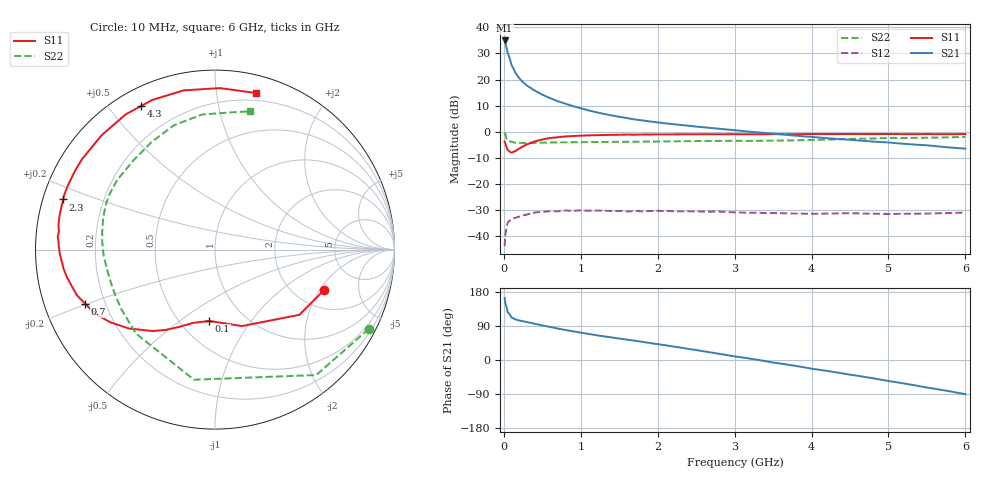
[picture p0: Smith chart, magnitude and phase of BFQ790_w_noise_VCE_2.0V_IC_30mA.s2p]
! Infineon Technologies  Discrete & RF Semiconductors
! BFQ790
! VCE =  2.0 V,  IC =  30 mA
! Common Emitter S-Parameters:  May 2015
# GHz  S  MA  R  50
!  f  S11  S21  S12  S22
! GHz  MAG  ANG  MAG  ANG  MAG  ANG  MAG  ANG
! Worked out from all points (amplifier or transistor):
!   77 points, 10 MHz to 6 GHz, reference 50 ohm
!   highest |S21| = 35.0 dB at 10 MHz (marker M1)
!   |S21| within 3 dB of that: start of sweep to 36.4 MHz
!   unconditionally stable (mu >= 1): 1.673 GHz to 1.792 GHz; 2.002 GHz to end of sweep
!   at 130 MHz: K = 0.66, MSG = 28.5 dB, |S12| = -33.2 dB
!   at 2.2 GHz: K = 1.08, MAG = 15.0 dB, |S12| = -30.5 dB
!   at 6 GHz: K = 2.12, MAG = 6.3 dB, |S12| = -31.0 dB
!   lowest NFmin = 2.11 dB at 900 MHz
!   S11 on the Smith chart (normalised r, x): 10 MHz: 2.86, -2.21; 100 MHz: 0.69, -0.65; 700 MHz: 0.13, -0.20; 2.3 GHz: 0.06, +0.16; 4.3 GHz: 0.07, +0.61; 6 GHz: 0.14, +1.29
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0.01  0.6492 -20.1  56.02 163.5  0.0064 70.9  0.964 -27.3
0.02  0.5944 -37.7  50.27 149.3  0.0109 59.1  0.8982 -51.1
0.05  0.4517 -70.6  32.49 125.3  0.0181 35.5  0.7344 -99.2
0.1  0.3989 -94.8  18.93 111.8  0.0214 22.5  0.6425 -133.3
0.15  0.4261 -106.6  13.43 107.2  0.0224 19.7  0.618 -147.9
0.2  0.4749 -114.9  10.6 104.2  0.0236 19.1  0.6107 -155.9
0.25  0.5248 -121.5  8.861 102.2  0.0248 15.7  0.6086 -161.0
0.3  0.5712 -127.4  7.649 100.0  0.0258 14.1  0.6087 -164.7
0.4  0.6508 -137.5  6.131 95.6  0.0282 11.9  0.6119 -169.9
0.5  0.7093 -145.1  5.119 91.3  0.0292 7.2  0.6158 -173.6
0.6  0.7556 -151.6  4.407 87.2  0.0298 4.8  0.6207 -176.5
0.7  0.7836 -157.3  3.848 83.1  0.0298 2.8  0.6234 -179.0
0.9  0.8252 -166.1  3.08 75.5  0.0305 -4.6  0.6278 177.3
1.1  0.8505 -172.9  2.564 68.9  0.0306 -7.6  0.6321 174.3
1.5  0.8732 177.1  1.927 56.6  0.0302 -14.5  0.6374 169.4
2.1  0.8871 165.8  1.447 38.9  0.0301 -22.8  0.6509 161.6
2.3  0.8909 161.7  1.344 32.6  0.0298 -25.8  0.6559 158.4
3.1  0.8936 143.8  1.033 6.7  0.0282 -38.2  0.6676 141.9
4.1  0.9006 121.4  0.772 -25.7  0.0268 -47.8  0.6996 118.2
4.3  0.8998 117.1  0.732 -31.9  0.0271 -49.2  0.7117 113.2
5.1  0.8997 98.6  0.603 -58.5  0.0266 -58.3  0.7559 93.3
6  0.9019 75.3  0.474 -90.4  0.0281 -68.9  0.7948 75.8
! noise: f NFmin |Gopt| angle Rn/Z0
0.45  2.49  0.31  99  0.34
0.9  2.11  0.46  151  0.14
1.5  2.31  0.64  179  0.07
1.8  2.6  0.67  -174  0.07
2.6  3.46  0.74  -156  0.2
3.5  4.21  0.87  -138  0.62
